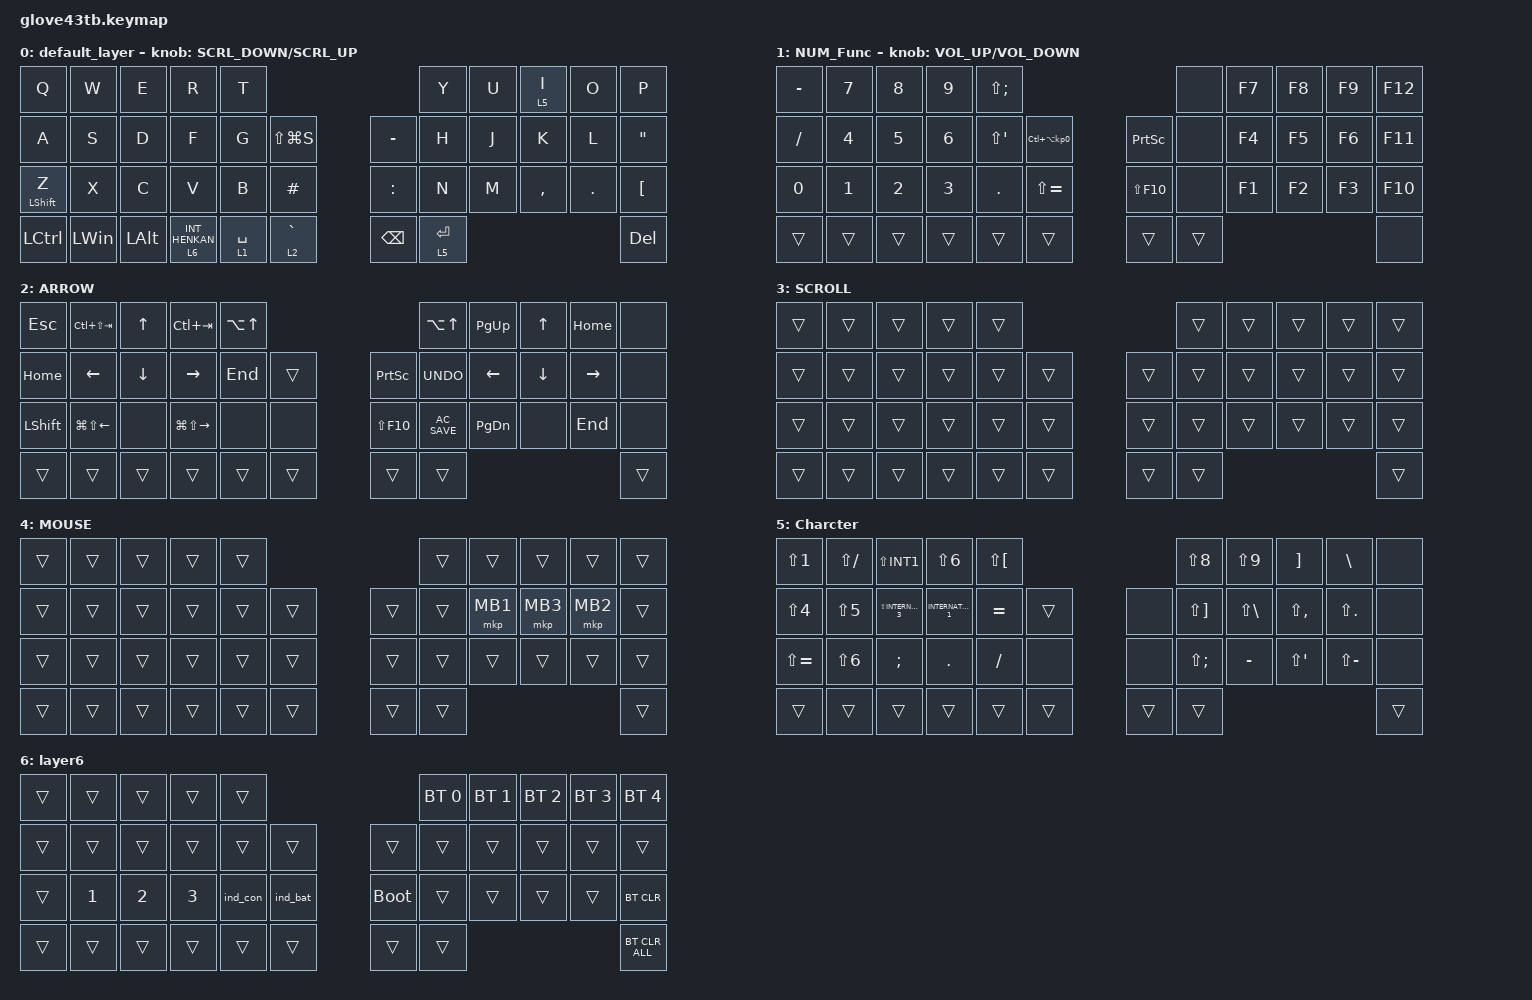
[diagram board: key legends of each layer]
#define ZMK_POINTING_DEFAULT_SCRL_VAL 150

#include <behaviors/rgbled_widget.dtsi>
#include <dt-bindings/zmk/input_transform.h>
#include <input/processors.dtsi>
#include <zephyr/dt-bindings/input/input-event-codes.h>
#include <behaviors.dtsi>
#include <dt-bindings/zmk/bt.h>
#include <dt-bindings/zmk/keys.h>
#include <dt-bindings/zmk/pointing.h>

&mt {
    flavor = "balanced";
    quick-tap-ms = <0>;
};

&mmv {
    delay-ms = <20>;
    trigger-period-ms = <5>;
    time-to-max-speed-ms = <100>;
    acceleration-exponent = <2>;
};

&msc {
    delay-ms = <3>;
    trigger-period-ms = <3>;
    time-to-max-speed-ms = <100>;
    acceleration-exponent = <0>;
};

/ {
    input_processors {
        zip_wheel_scaler: zip_wheel_scaler {
            compatible = "zmk,input-processor-scaler";
            #input-processor-cells = <2>;
            type = <INPUT_EV_REL>;
            codes = <INPUT_REL_WHEEL>;
            track-remainders;
        };
    };
};

/ {
    combos {
        compatible = "zmk,combos";

        tab {
            bindings = <&kp TAB>;
            key-positions = <18 19>;
        };

        shift_tab {
            bindings = <&kp LS(TAB)>;
            key-positions = <19 20>;
        };
    };

    macros {
        to_layer_0: to_layer_0 {
            compatible = "zmk,behavior-macro-one-param";
            #binding-cells = <1>;
            bindings = <&to 0 &macro_param_1to1 &kp MACRO_PLACEHOLDER>;
            label = "TO_LAYER_0";
        };
    };

    behaviors {
        lt_to_layer_0: lt_to_layer_0 {
            compatible = "zmk,behavior-hold-tap";
            label = "LAYER_TAP_TO_0";
            bindings = <&mo>, <&to_layer_0>;

            #binding-cells = <2>;
            tapping-term-ms = <200>;
        };

        sensor_rotate_kp: sensor_rotate_kp {
            compatible = "zmk,behavior-sensor-rotate-var";
            #sensor-binding-cells = <2>;
            bindings = <&kp>, <&kp>;
        };

        mouse_wheel_scroll: mouse_wheel_scroll {
            compatible = "zmk,behavior-sensor-rotate-var";
            #sensor-binding-cells = <2>;
            bindings = <&msc>, <&msc>;

            tap-ms = <20>;
        };
    };

    keymap {
        compatible = "zmk,keymap";

        default_layer {
            bindings = <
&kp Q             &kp W         &kp E         &kp R                        &kp T                                                              &kp Y        &kp U  &lt 5 I    &kp O    &kp P
&kp A             &kp S         &kp D         &kp F                        &kp G                   &kp LS(LG(S))               &kp MINUS      &kp H        &kp J  &kp K      &kp L    &kp DOUBLE_QUOTES
&mt LEFT_SHIFT Z  &kp X         &kp C         &kp V                        &kp B                   &kp HASH                    &kp COLON      &kp N        &kp M  &kp COMMA  &kp DOT  &kp LEFT_BRACKET
&kp LCTRL         &kp LEFT_WIN  &kp LEFT_ALT  &lt_to_layer_0 6 INT_HENKAN  &lt_to_layer_0 1 SPACE  &lt_to_layer_0 2 GRAVE      &kp BACKSPACE  &lt 5 ENTER                             &kp DEL
            >;

            sensor-bindings = <&mouse_wheel_scroll SCRL_DOWN SCRL_UP>;
        };

        NUM_Func {
            bindings = <
&kp MINUS  &kp N7  &kp N8  &kp N9  &kp LS(SEMI)                                                        &none   &kp F7  &kp F8  &kp F9  &kp F12
&kp SLASH  &kp N4  &kp N5  &kp N6  &kp LS(SINGLE_QUOTE)  &kp LC(LA(KP_NUMBER_0))      &kp PRINTSCREEN  &none   &kp F4  &kp F5  &kp F6  &kp F11
&kp N0     &kp N1  &kp N2  &kp N3  &kp PERIOD            &kp LS(EQUAL)                &kp LS(F10)      &none   &kp F1  &kp F2  &kp F3  &kp F10
&trans     &trans  &trans  &trans  &trans                &trans                       &trans           &trans                          &none
            >;

            sensor-bindings = <&inc_dec_kp C_VOLUME_UP C_VOLUME_DOWN>;
        };

        ARROW {
            bindings = <
&kp ESCAPE      &kp LC(LS(TAB))         &kp UP_ARROW    &kp LC(TAB)              &kp LA(UP_ARROW)                               &kp LA(UP_ARROW)  &kp PAGE_UP     &kp UP_ARROW    &kp HOME         &none
&kp HOME        &kp LEFT_ARROW          &kp DOWN_ARROW  &kp RIGHT_ARROW          &kp END           &trans      &kp PRINTSCREEN  &kp K_UNDO        &kp LEFT_ARROW  &kp DOWN_ARROW  &kp RIGHT_ARROW  &none
&kp LEFT_SHIFT  &kp LG(LS(LEFT_ARROW))  &none           &kp LG(LS(RIGHT_ARROW))  &none             &none       &kp LS(F10)      &kp C_AC_SAVE     &kp PAGE_DOWN   &none           &kp END          &none
&trans          &trans                  &trans          &trans                   &trans            &trans      &trans           &trans                                                             &trans
            >;
        };

        SCROLL {
            bindings = <
&trans  &trans  &trans  &trans  &trans                      &trans  &trans  &trans  &trans  &trans
&trans  &trans  &trans  &trans  &trans  &trans      &trans  &trans  &trans  &trans  &trans  &trans
&trans  &trans  &trans  &trans  &trans  &trans      &trans  &trans  &trans  &trans  &trans  &trans
&trans  &trans  &trans  &trans  &trans  &trans      &trans  &trans                          &trans
            >;
        };

        MOUSE {
            bindings = <
&trans  &trans  &trans  &trans  &trans                      &trans  &trans    &trans    &trans    &trans
&trans  &trans  &trans  &trans  &trans  &trans      &trans  &trans  &mkp MB1  &mkp MB3  &mkp MB2  &trans
&trans  &trans  &trans  &trans  &trans  &trans      &trans  &trans  &trans    &trans    &trans    &trans
&trans  &trans  &trans  &trans  &trans  &trans      &trans  &trans                                &trans
            >;
        };

        Charcter {
            bindings = <
&kp LS(N1)     &kp LS(SLASH)  &kp LS(INT1)             &kp LS(N6)           &kp LS(LBKT)                      &kp LS(N8)    &kp LS(N9)         &kp RBKT              &kp BACKSLASH  &none
&kp LS(N4)     &kp LS(N5)     &kp LS(INTERNATIONAL_3)  &kp INTERNATIONAL_1  &kp EQUAL     &trans      &none   &kp LS(RBKT)  &kp LS(BACKSLASH)  &kp LS(COMMA)         &kp LS(DOT)    &none
&kp LS(EQUAL)  &kp LS(N6)     &kp SEMI                 &kp PERIOD           &kp SLASH     &none       &none   &kp LS(SEMI)  &kp MINUS          &kp LS(SINGLE_QUOTE)  &kp LS(MINUS)  &none
&trans         &trans         &trans                   &trans               &trans        &trans      &trans  &trans                                                                &trans
            >;
        };

        layer6 {
            bindings = <
&trans  &trans        &trans        &trans        &trans                               &bt BT_SEL 0  &bt BT_SEL 1  &bt BT_SEL 2  &bt BT_SEL 3  &bt BT_SEL 4
&trans  &trans        &trans        &trans        &trans    &trans        &trans       &trans        &trans        &trans        &trans        &trans
&trans  &kp NUMBER_1  &kp NUMBER_2  &kp NUMBER_3  &ind_con  &ind_bat      &bootloader  &trans        &trans        &trans        &trans        &bt BT_CLR
&trans  &trans        &trans        &trans        &trans    &trans        &trans       &trans                                                  &bt BT_CLR_ALL
            >;
        };
    };
};
